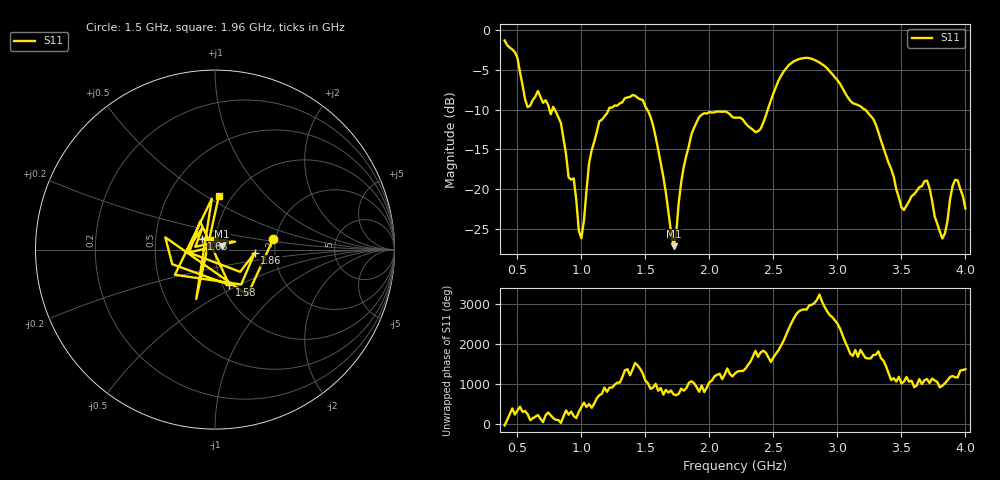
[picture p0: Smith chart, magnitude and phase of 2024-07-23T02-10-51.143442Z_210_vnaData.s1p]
!Created with skrf (http://scikit-rf.org).
# Hz S RI R 50.0
!freq ReS11 ImS11
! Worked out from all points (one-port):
!   181 points, 400 MHz to 4 GHz, reference 50 ohm
!   lowest |S11| = -27.2 dB at 1.72 GHz (marker M1), VSWR 1.09, Z = 54.1 + j2.03 ohm
!   |S11| at or under -10 dB: 792.2 MHz to 1.213 GHz (420.5 MHz wide, 41.9 % of centre); 1.515 GHz to 2.456 GHz (941.3 MHz wide, 47.4 % of centre); 3.217 GHz to end of sweep (the widest 3 of 4)
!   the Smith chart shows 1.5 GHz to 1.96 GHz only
!   S11 on the Smith chart (normalised r, x): 1.5 GHz: 1.94, +0.26; 1.58 GHz: 1.08, -0.45; 1.66 GHz: 0.86, +0.10; 1.86 GHz: 1.57, -0.06; 1.96 GHz: 0.87, +0.57
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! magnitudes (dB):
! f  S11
! 400 MHz  -1.3
! 500 MHz  -3.4
! 580 MHz  -9.7
! 660 MHz  -7.6
! 860 MHz  -13.6
! 940 MHz  -18.7
! 1 GHz  -26.2
! 1.06 GHz  -16.7
! 1.14 GHz  -11.5
! 1.3 GHz  -9.2
! 1.5 GHz  -9.6
! 1.58 GHz  -13.4
! 1.66 GHz  -20.5
! 1.72 GHz  -27.2
! 1.76 GHz  -21.8
! 1.86 GHz  -13.1
! 1.96 GHz  -10.4
! 2.2 GHz  -11.0
! 2.4 GHz  -12.4
! 2.66 GHz  -3.9
! 3.1 GHz  -8.9
! 3.28 GHz  -11.2
! 3.5 GHz  -22.3
! 3.56 GHz  -21.6
! 3.7 GHz  -18.9
! 3.82 GHz  -26.2
! 3.92 GHz  -18.8
! 4 GHz  -22.5
